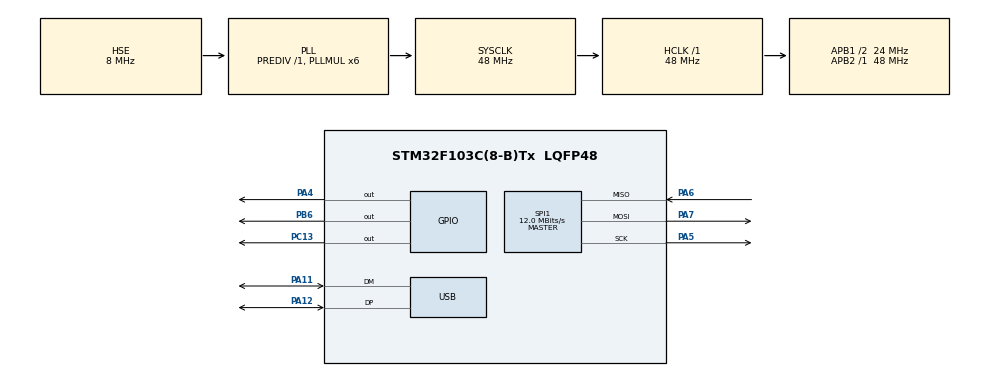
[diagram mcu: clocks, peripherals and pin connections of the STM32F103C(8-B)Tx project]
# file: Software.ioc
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Mcu.Family=STM32F1
Mcu.Name=STM32F103C(8-B)Tx
Mcu.Package=LQFP48
NVIC.PriorityGroup=NVIC_PRIORITYGROUP_4
NVIC.USB_LP_CAN1_RX0_IRQn=true\:0\:0\:false\:false\:true\:false\:true
PA11.Mode=Device
PA11.Signal=USB_DM
PA12.Mode=Device
PA12.Signal=USB_DP
PA13.Mode=Serial_Wire
PA13.Signal=SYS_JTMS-SWDIO
PA14.Mode=Serial_Wire
PA14.Signal=SYS_JTCK-SWCLK
PA4.Signal=GPIO_Output
PA5.Mode=Full_Duplex_Master
PA5.Signal=SPI1_SCK
PA6.Mode=Full_Duplex_Master
PA6.Signal=SPI1_MISO
PA7.Mode=Full_Duplex_Master
PA7.Signal=SPI1_MOSI
PB6.Signal=GPIO_Output
PC13-TAMPER-RTC.Signal=GPIO_Output
PD0-OSC_IN.Mode=HSE-External-Oscillator
PD0-OSC_IN.Signal=RCC_OSC_IN
PD1-OSC_OUT.Mode=HSE-External-Oscillator
PD1-OSC_OUT.Signal=RCC_OSC_OUT
ProjectManager.HeapSize=0x400
ProjectManager.StackSize=0x800
ProjectManager.TargetToolchain=SW4STM32
RCC.AHBFreq_Value=48000000
RCC.APB1CLKDivider=RCC_HCLK_DIV2
RCC.APB1Freq_Value=24000000
RCC.APB1TimFreq_Value=48000000
RCC.APB2Freq_Value=48000000
RCC.APB2TimFreq_Value=48000000
RCC.HCLKFreq_Value=48000000
RCC.PLLMUL=RCC_PLL_MUL6
RCC.SYSCLKFreq_VALUE=48000000
RCC.SYSCLKSource=RCC_SYSCLKSOURCE_PLLCLK
RCC.USBFreq_Value=48000000
SPI1.BaudRatePrescaler=SPI_BAUDRATEPRESCALER_4
SPI1.CalculateBaudRate=12.0 MBits/s
SPI1.Direction=SPI_DIRECTION_2LINES
SPI1.Mode=SPI_MODE_MASTER
SPI1.VirtualType=VM_MASTER
USB_DEVICE.CLASS_NAME_FS=CDC
USB_DEVICE.VirtualMode=Cdc
USB_DEVICE.VirtualModeFS=Cdc_FS
VP_USB_DEVICE_VS_USB_DEVICE_CDC_FS.Mode=CDC_FS
board=custom

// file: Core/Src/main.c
/* USER CODE BEGIN Header */
/**
  ******************************************************************************
  * @file           : main.c
  * @brief          : Main program body
  ******************************************************************************
  * @attention
  *
  * <h2><center>&copy; Copyright (c) 2020 STMicroelectronics.
  * All rights reserved.</center></h2>
  *
  * This software component is licensed by ST under Ultimate Liberty license
  * SLA0044, the "License"; You may not use this file except in compliance with
  * the License. You may obtain a copy of the License at:
  *                             www.st.com/SLA0044
  *
  ******************************************************************************
  */
/* USER CODE END Header */
#include "main.h"
#include "usb_device.h"

/* USER CODE BEGIN Includes */

#include "rc522.h"
#include "usbd_cdc_if.h"

/* USER CODE END Includes */

SPI_HandleTypeDef hspi1;

void SystemClock_Config(void);
static void MX_GPIO_Init(void);
static void MX_SPI1_Init(void);

/* USER CODE BEGIN 0 */
uint8_t blockAddr;
uint8_t RC_size;

uint8_t sectorKeyA[16][16] = {{0xFF, 0xFF, 0xFF, 0xFF, 0xFF, 0xFF},
                              {0xFF, 0xFF, 0xFF, 0xFF, 0xFF, 0xFF},
                              {0xFF, 0xFF, 0xFF, 0xFF, 0xFF, 0xFF},
                              {0xFF, 0xFF, 0xFF, 0xFF, 0xFF, 0xFF},};

uint8_t status;
uint8_t	str[MFRC522_MAX_LEN];
uint8_t sn[4];
char	buff[64];
uint8_t i;
uint8_t size;
/* USER CODE END 0 */

int main(void)
{

  /* MCU Configuration--------------------------------------------------------*/

  /* Reset of all peripherals, Initializes the Flash interface and the Systick. */
  HAL_Init();

  /* Configure the system clock */
  SystemClock_Config();

  /* Initialize all configured peripherals */
  MX_GPIO_Init();
  MX_SPI1_Init();
  MX_USB_DEVICE_Init();
  /* USER CODE BEGIN 2 */
  MFRC522_Init();
  /* USER CODE END 2 */

  /* Infinite loop */
  /* USER CODE BEGIN WHILE */
  while (1)
  {
//      MFRC522_Init();
      size = sprintf(buff, "\033[H\033[2J");
      CDC_Transmit_FS(buff, size);

      HAL_Delay(20);

      status = MI_ERR;

      // Look for the card, return type
      status = MFRC522_Request(PICC_REQIDL, str);
      if (status == MI_OK) {
          size = sprintf(buff, "SAK: 0x%02X, 0x%02X\n", str[1], str[0]);
          CDC_Transmit_FS(buff, size);
          HAL_GPIO_TogglePin(GPIOB, GPIO_PIN_6);
      }
      else {
          size = sprintf(buff, "SAK: ----  ----\n");
          CDC_Transmit_FS(buff, size);
      }

      // Anti-collision, return the card's 4-byte serial number
      status = MFRC522_Anticoll(sn);
      if (status == MI_OK) {
          size = sprintf(buff, "CN: %x%x%x%x\n", sn[0],sn[1],sn[2],sn[3]);
          CDC_Transmit_FS(buff, size);
      }
      else {
          size = sprintf(buff, "CN: --------\n");
          CDC_Transmit_FS(buff, size);
      }

      // Election card, return capacity
      RC_size = MFRC522_SelectTag(sn);
      if (RC_size != 0) {
          size = sprintf(buff, "CS: %d\n", RC_size);
          CDC_Transmit_FS(buff, size);
      }
      else {
          size = sprintf(buff, "CS: -\n");
          CDC_Transmit_FS(buff, size);
      }

      // Card reader
      status = MFRC522_Auth(PICC_AUTHENT1A, 11, sectorKeyA[2], sn);
      if (status == MI_OK) {
          // Read data
          status = MFRC522_Read(11, str);
          if (status == MI_OK) {
              size = sprintf(buff, "%02X %02X %02X %02X %02X %02X %02X %02X\n", str[0],str[1],str[2],str[3],str[4],str[5],str[6],str[7]);
              CDC_Transmit_FS(buff, size);
              size = sprintf(buff, "%02X %02X %02X %02X %02X %02X %02X %02X\n", str[8],str[9],str[10],str[11],str[12],str[13],str[14],str[15]);
              CDC_Transmit_FS(buff, size);
          }
          HAL_GPIO_TogglePin(GPIOB, GPIO_PIN_14);
      }
      else {
          size = sprintf(buff, "-- -- -- -- -- -- -- --\n");
          CDC_Transmit_FS(buff, size);
      }

      HAL_Delay(2);

      MFRC522_Halt();
      HAL_Delay(200);
//      MFRC522_AntennaOff();
    /* USER CODE END WHILE */

  }
}

void SystemClock_Config(void)
{
  RCC_OscInitTypeDef RCC_OscInitStruct = {0};
  RCC_ClkInitTypeDef RCC_ClkInitStruct = {0};
  RCC_PeriphCLKInitTypeDef PeriphClkInit = {0};

  /** Initializes the RCC Oscillators according to the specified parameters
  * in the RCC_OscInitTypeDef structure.
  */
  RCC_OscInitStruct.OscillatorType = RCC_OSCILLATORTYPE_HSE;
  RCC_OscInitStruct.HSEState = RCC_HSE_ON;
  RCC_OscInitStruct.HSEPredivValue = RCC_HSE_PREDIV_DIV1;
  RCC_OscInitStruct.HSIState = RCC_HSI_ON;
  RCC_OscInitStruct.PLL.PLLState = RCC_PLL_ON;
  RCC_OscInitStruct.PLL.PLLSource = RCC_PLLSOURCE_HSE;
  RCC_OscInitStruct.PLL.PLLMUL = RCC_PLL_MUL6;
  if (HAL_RCC_OscConfig(&RCC_OscInitStruct) != HAL_OK)
  {
    Error_Handler();
  }
  /** Initializes the CPU, AHB and APB buses clocks
  */
  RCC_ClkInitStruct.ClockType = RCC_CLOCKTYPE_HCLK|RCC_CLOCKTYPE_SYSCLK
                              |RCC_CLOCKTYPE_PCLK1|RCC_CLOCKTYPE_PCLK2;
  RCC_ClkInitStruct.SYSCLKSource = RCC_SYSCLKSOURCE_PLLCLK;
  RCC_ClkInitStruct.AHBCLKDivider = RCC_SYSCLK_DIV1;
  RCC_ClkInitStruct.APB1CLKDivider = RCC_HCLK_DIV2;
  RCC_ClkInitStruct.APB2CLKDivider = RCC_HCLK_DIV1;

  if (HAL_RCC_ClockConfig(&RCC_ClkInitStruct, FLASH_LATENCY_1) != HAL_OK)
  {
    Error_Handler();
  }
  PeriphClkInit.PeriphClockSelection = RCC_PERIPHCLK_USB;
  PeriphClkInit.UsbClockSelection = RCC_USBCLKSOURCE_PLL;
  if (HAL_RCCEx_PeriphCLKConfig(&PeriphClkInit) != HAL_OK)
  {
    Error_Handler();
  }
}

static void MX_SPI1_Init(void)
{

  /* SPI1 parameter configuration*/
  hspi1.Instance = SPI1;
  hspi1.Init.Mode = SPI_MODE_MASTER;
  hspi1.Init.Direction = SPI_DIRECTION_2LINES;
  hspi1.Init.DataSize = SPI_DATASIZE_8BIT;
  hspi1.Init.CLKPolarity = SPI_POLARITY_LOW;
  hspi1.Init.CLKPhase = SPI_PHASE_1EDGE;
  hspi1.Init.NSS = SPI_NSS_SOFT;
  hspi1.Init.BaudRatePrescaler = SPI_BAUDRATEPRESCALER_4;
  hspi1.Init.FirstBit = SPI_FIRSTBIT_MSB;
  hspi1.Init.TIMode = SPI_TIMODE_DISABLE;
  hspi1.Init.CRCCalculation = SPI_CRCCALCULATION_DISABLE;
  hspi1.Init.CRCPolynomial = 10;
  if (HAL_SPI_Init(&hspi1) != HAL_OK)
  {
    Error_Handler();
  }

}

static void MX_GPIO_Init(void)
{
  GPIO_InitTypeDef GPIO_InitStruct = {0};

  /* GPIO Ports Clock Enable */
  __HAL_RCC_GPIOC_CLK_ENABLE();
  __HAL_RCC_GPIOD_CLK_ENABLE();
  __HAL_RCC_GPIOA_CLK_ENABLE();
  __HAL_RCC_GPIOB_CLK_ENABLE();

  /*Configure GPIO pin Output Level */
  HAL_GPIO_WritePin(GPIOC, GPIO_PIN_13, GPIO_PIN_RESET);

  /*Configure GPIO pin Output Level */
  HAL_GPIO_WritePin(GPIOA, GPIO_PIN_4, GPIO_PIN_RESET);

  /*Configure GPIO pin Output Level */
  HAL_GPIO_WritePin(GPIOB, GPIO_PIN_6, GPIO_PIN_RESET);

  /*Configure GPIO pin : PC13 */
  GPIO_InitStruct.Pin = GPIO_PIN_13;
  GPIO_InitStruct.Mode = GPIO_MODE_OUTPUT_PP;
  GPIO_InitStruct.Pull = GPIO_NOPULL;
  GPIO_InitStruct.Speed = GPIO_SPEED_FREQ_LOW;
  HAL_GPIO_Init(GPIOC, &GPIO_InitStruct);

  /*Configure GPIO pin : PA4 */
  GPIO_InitStruct.Pin = GPIO_PIN_4;
  GPIO_InitStruct.Mode = GPIO_MODE_OUTPUT_PP;
  GPIO_InitStruct.Pull = GPIO_NOPULL;
  GPIO_InitStruct.Speed = GPIO_SPEED_FREQ_LOW;
  HAL_GPIO_Init(GPIOA, &GPIO_InitStruct);

  /*Configure GPIO pin : PB6 */
  GPIO_InitStruct.Pin = GPIO_PIN_6;
  GPIO_InitStruct.Mode = GPIO_MODE_OUTPUT_PP;
  GPIO_InitStruct.Pull = GPIO_NOPULL;
  GPIO_InitStruct.Speed = GPIO_SPEED_FREQ_LOW;
  HAL_GPIO_Init(GPIOB, &GPIO_InitStruct);

}

void Error_Handler(void)
{
}

/************************ (C) COPYRIGHT STMicroelectronics *****END OF FILE****/
